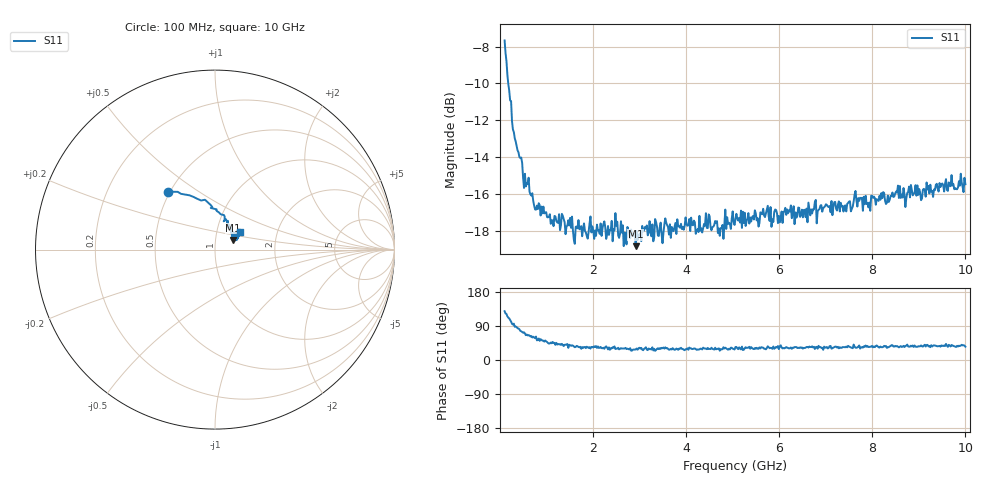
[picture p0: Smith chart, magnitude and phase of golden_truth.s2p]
# GHz S RI R 50
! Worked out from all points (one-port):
!   500 points, 100 MHz to 10 GHz, reference 50 ohm
!   lowest |S11| = -18.8 dB at 2.917 GHz (marker M1), VSWR 1.26, Z = 60.8 + j6.6 ohm
!   |S11| at or under -10 dB: 178.1 MHz to end of sweep
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0.1  -0.2592 0.3225
0.1991984  -0.102 0.2846
0.2785571  -0.0149 0.2367
0.5364729  0.0613 0.169
0.7745491  0.0678 0.1266
1.111824  0.0964 0.0936
1.3499  0.106 0.0886
1.508617  0.1063 0.0856
1.607816  0.0964 0.0645
1.96493  0.1027 0.0705
2.322044  0.1145 0.0608
2.480762  0.1229 0.0682
2.57996  0.1073 0.061
2.917234  0.101 0.0535
3.095792  0.1102 0.0618
3.82986  0.1155 0.0584
4.345691  0.11 0.0583
4.464729  0.1086 0.0678
4.762325  0.1131 0.06
4.861523  0.1096 0.0648
5.05992  0.1118 0.0761
6.28998  0.1185 0.0754
7.53988  0.119 0.0777
7.658918  0.1287 0.081
7.916834  0.1204 0.082
8.016032  0.1288 0.0855
8.76994  0.1303 0.094
10  0.1378 0.0968
